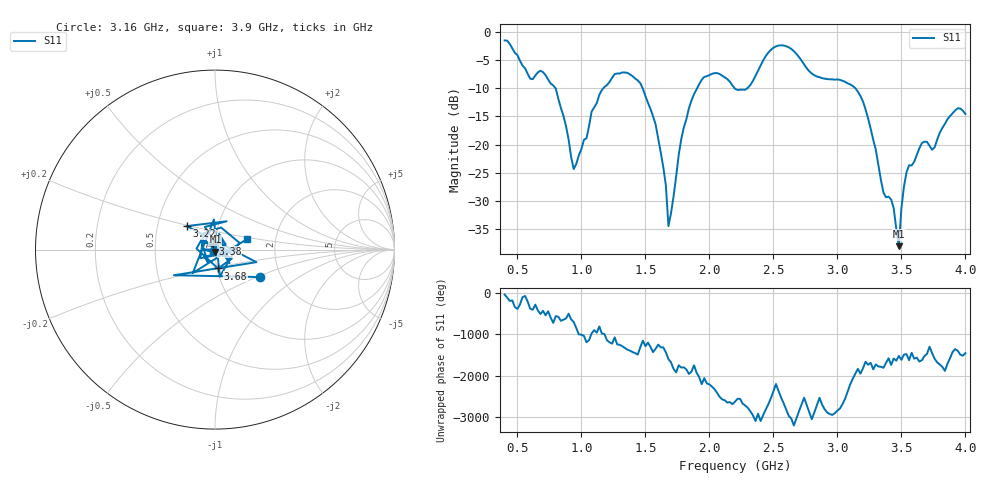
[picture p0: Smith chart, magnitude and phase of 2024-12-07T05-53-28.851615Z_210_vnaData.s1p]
!Created with skrf (http://scikit-rf.org).
# Hz S RI R 50.0
!freq ReS11 ImS11
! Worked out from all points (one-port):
!   181 points, 400 MHz to 4 GHz, reference 50 ohm
!   lowest |S11| = -38.0 dB at 3.48 GHz (marker M1), VSWR 1.03, Z = 50.2 - j1.24 ohm
!   |S11| at or under -10 dB: 798 MHz to 1.172 GHz (373.8 MHz wide, 37.9 % of centre); 1.478 GHz to 1.904 GHz (425.6 MHz wide, 25.2 % of centre); 3.141 GHz to end of sweep (the widest 3 of 4)
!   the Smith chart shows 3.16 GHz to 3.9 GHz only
!   S11 on the Smith chart (normalised r, x): 3.16 GHz: 1.57, -0.53; 3.22 GHz: 0.70, +0.19; 3.38 GHz: 0.97, +0.06; 3.68 GHz: 1.01, -0.21; 3.9 GHz: 1.43, +0.18
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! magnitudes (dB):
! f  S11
! 400 MHz  -1.5
! 600 MHz  -8.3
! 720 MHz  -7.7
! 860 MHz  -14.9
! 940 MHz  -24.3
! 1.14 GHz  -11.2
! 1.3 GHz  -7.4
! 1.46 GHz  -9.1
! 1.56 GHz  -15.0
! 1.66 GHz  -27.2
! 1.68 GHz  -34.4
! 1.76 GHz  -21.8
! 1.94 GHz  -8.5
! 2.2 GHz  -10.1
! 2.5 GHz  -2.8
! 2.66 GHz  -3.4
! 3.1 GHz  -9.3
! 3.16 GHz  -10.6
! 3.22 GHz  -13.7
! 3.38 GHz  -29.3
! 3.44 GHz  -31.3
! 3.48 GHz  -38.0
! 3.52 GHz  -27.4
! 3.56 GHz  -23.7
! 3.68 GHz  -19.5
! 3.74 GHz  -20.9
! 3.9 GHz  -14.4
! 4 GHz  -14.6
